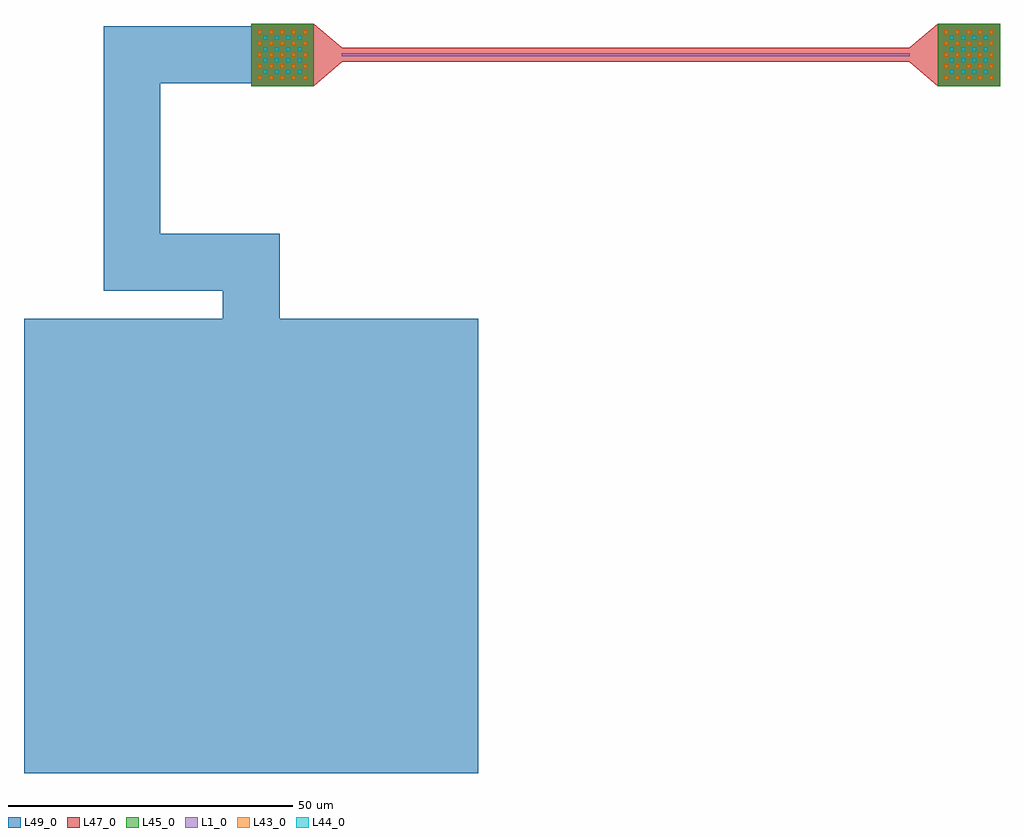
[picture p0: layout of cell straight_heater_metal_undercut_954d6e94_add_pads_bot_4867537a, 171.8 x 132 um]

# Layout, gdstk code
from math import pi, radians
import gdstk
lib = gdstk.Library(unit=1e-6, precision=1e-09)
def R(c, l, rs):  # rectangles x0, y0, x1, y1
    for r in rs: c.add(gdstk.rectangle(r[:2], r[2:], *l))
def P(c, l, *ps):  # polygons
    for p in ps: c.add(gdstk.Polygon(p, *l))
L1_0 = (1, 0)
L43_0 = (43, 0)
L44_0 = (44, 0)
L45_0 = (45, 0)
L47_0 = (47, 0)
L49_0 = (49, 0)

straight_add_pinsfalse_l = lib.new_cell('straight_add_pinsFalse_length0p1')
R(straight_add_pinsfalse_l, L1_0, [(0,-0.25,0.1,0.25)])

straight_74f4b009 = lib.new_cell('straight_74f4b009')
R(straight_74f4b009, L1_0, [(0,-0.25,31.9,0.25)])
R(straight_74f4b009, L47_0, [(0,-1.25,31.9,1.25)])

straight_4c389c95 = lib.new_cell('straight_4c389c95')
R(straight_4c389c95, L1_0, [(0,-0.25,30,0.25)])
R(straight_4c389c95, L47_0, [(0,-1.25,30,1.25)])

straight_bc9a50f1 = lib.new_cell('straight_bc9a50f1')
R(straight_bc9a50f1, L1_0, [(0,-0.25,6,0.25)])
R(straight_bc9a50f1, L47_0, [(0,-1.25,6,1.25)])

component_sequence_3c593 = lib.new_cell('component_sequence_3c593be8')
component_sequence_3c593.add(gdstk.Reference(straight_add_pinsfalse_l, (0,0)))
component_sequence_3c593.add(gdstk.Reference(straight_74f4b009, (0.1,0)))
component_sequence_3c593.add(gdstk.Reference(straight_4c389c95, (32,0)))
component_sequence_3c593.add(gdstk.Reference(straight_bc9a50f1, (62,0)))
component_sequence_3c593.add(gdstk.Reference(straight_74f4b009, (68,0)))
component_sequence_3c593.add(gdstk.Reference(straight_add_pinsfalse_l, (99.9,0)))

compass_d8224c77 = lib.new_cell('compass_d8224c77')
R(compass_d8224c77, L47_0, [(-5.5,-5.5,5.5,5.5)])

compass_layerm2_size11p0 = lib.new_cell('compass_layerM2_size11p0__11p0')
R(compass_layerm2_size11p0, L45_0, [(-5.5,-5.5,5.5,5.5)])

compass_layermtop_size11 = lib.new_cell('compass_layerMTOP_size11p0__11p0')
R(compass_layermtop_size11, L49_0, [(-5.5,-5.5,5.5,5.5)])

via_enclosure2_layervia1 = lib.new_cell('via_enclosure2_layerVIA1')
R(via_enclosure2_layervia1, L44_0, [(-0.35,-0.35,0.35,0.35)])

via_layervia2 = lib.new_cell('via_layerVIA2')
R(via_layervia2, L43_0, [(-0.35,-0.35,0.35,0.35)])

via_stack_64ed2af4 = lib.new_cell('via_stack_64ed2af4')
via_stack_64ed2af4.add(gdstk.Reference(compass_d8224c77, (0,0)))
via_stack_64ed2af4.add(gdstk.Reference(compass_layerm2_size11p0, (0,0)))
via_stack_64ed2af4.add(gdstk.Reference(compass_layermtop_size11, (0,0)))
r = gdstk.Reference(via_enclosure2_layervia1, (-3,-3)); r.repetition = gdstk.Repetition(4, 4, v1=(2,0), v2=(0,2)); via_stack_64ed2af4.add(r)
r = gdstk.Reference(via_layervia2, (-4,-4)); r.repetition = gdstk.Repetition(5, 5, v1=(2,0), v2=(0,2)); via_stack_64ed2af4.add(r)

taper_724fbfc5 = lib.new_cell('taper_724fbfc5')
P(taper_724fbfc5, L47_0, [(0,5.5),(5,1.25),(5,-1.25),(0,-5.5)])

straight_heater_metal_un = lib.new_cell('straight_heater_metal_undercut_954d6e94')
straight_heater_metal_un.add(gdstk.Reference(component_sequence_3c593, (0,0)))
straight_heater_metal_un.add(gdstk.Reference(via_stack_64ed2af4, (-10.4,0)))
straight_heater_metal_un.add(gdstk.Reference(via_stack_64ed2af4, (110.4,0)))
straight_heater_metal_un.add(gdstk.Reference(taper_724fbfc5, (-4.9,0)))
straight_heater_metal_un.add(gdstk.Reference(taper_724fbfc5, (104.9,0), rotation=pi))

wire_corner_a84fe1b9 = lib.new_cell('wire_corner_a84fe1b9')
R(wire_corner_a84fe1b9, L49_0, [(-5,-5,5,5)])

straight_fd03ba06 = lib.new_cell('straight_fd03ba06')
R(straight_fd03ba06, L49_0, [(0,-5,16,5)])

straight_9ae86d7c = lib.new_cell('straight_9ae86d7c')
R(straight_9ae86d7c, L49_0, [(0,-5,5.5,5)])

straight_95ea4788 = lib.new_cell('straight_95ea4788')
R(straight_95ea4788, L49_0, [(0,-5,21,5)])

straight_43e616a6 = lib.new_cell('straight_43e616a6')
R(straight_43e616a6, L49_0, [(0,-5,11,5)])

straight_18ca43e0 = lib.new_cell('straight_18ca43e0')
R(straight_18ca43e0, L49_0, [(0,-5,5,5)])

pad_sizepad_size = lib.new_cell('pad_sizepad_size')
R(pad_sizepad_size, L49_0, [(-40,-40,40,40)])

c_straight_heater_metal_un = lib.new_cell('straight_heater_metal_undercut_954d6e94_add_pads_bot_4867537a')
c_straight_heater_metal_un.add(gdstk.Reference(straight_heater_metal_un, (0,0)))
c_straight_heater_metal_un.add(gdstk.Reference(wire_corner_a84fe1b9, (-36.9,0), rotation=pi))
c_straight_heater_metal_un.add(gdstk.Reference(straight_fd03ba06, (-15.9,0), rotation=pi))
c_straight_heater_metal_un.add(gdstk.Reference(straight_9ae86d7c, (-36.9,-5), rotation=3*pi/2))
c_straight_heater_metal_un.add(gdstk.Reference(wire_corner_a84fe1b9, (-36.9,-36.5), rotation=3*pi/2))
c_straight_heater_metal_un.add(gdstk.Reference(wire_corner_a84fe1b9, (-15.9,-36.5), x_reflection=True))
c_straight_heater_metal_un.add(gdstk.Reference(straight_95ea4788, (-36.9,-10.5), rotation=3*pi/2))
c_straight_heater_metal_un.add(gdstk.Reference(straight_43e616a6, (-31.9,-36.5)))
c_straight_heater_metal_un.add(gdstk.Reference(straight_18ca43e0, (-15.9,-41.5), rotation=3*pi/2))
c_straight_heater_metal_un.add(gdstk.Reference(pad_sizepad_size, (-15.9,-86.5), rotation=3*pi/2))
c_straight_heater_metal_un.add(gdstk.Reference(straight_heater_metal_un, (0,0)))

lib.write_gds('straight_heater_metal_undercut_954d6e94_add_pads_bot_4867537a.gds')
